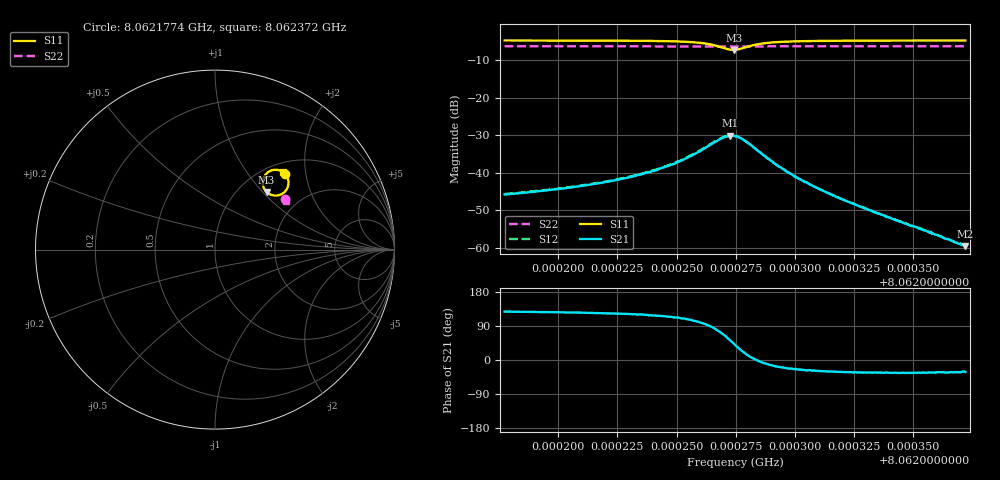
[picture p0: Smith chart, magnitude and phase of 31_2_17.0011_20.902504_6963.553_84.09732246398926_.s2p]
#  HZ  S  RI  R  50.00
! Rohde & Schwarz Vector Network Analyzer
! Rohde-Schwarz,ZNB20-2Port,1311601062101988,3.16
! Created: UTC 3/20/2024, 10:53:24 PM
! freq[Hz]  re:S11  im:S11  re:S21  im:S21  re:S12  im:S12  re:S22  im:S22
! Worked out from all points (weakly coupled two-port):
!   401 points, 8.0621774 GHz to 8.062372 GHz, reference 50 ohm
!   highest |S21| = -30.17 dB at 8.0622727 GHz (marker M1); lowest = -59.5 dB at 8.062372 GHz (marker M2)
!   lowest |S11| = -7.3 dB at 8.0622742 GHz (marker M3), VSWR 2.52, Z = 66.6 + j52.6 ohm
!   |S11| at or under -10 dB: nowhere
!   |S22| runs from -6.5 to -6.3 dB; largest |S21 - S12| = 0.003
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8.0621774e9  0.3905 0.4221  -0.00314 0.00406  -0.00293 0.00429  0.3917 0.2807
8.06219588e9  0.3936 0.4184  -0.00347 0.00475  -0.00322 0.00495  0.3923 0.2797
8.06220999e9  0.3966 0.4145  -0.0038 0.00549  -0.00355 0.00578  0.3929 0.2789
8.06223139e9  0.4027 0.404  -0.00455 0.00763  -0.00411 0.00805  0.3935 0.2774
8.06224258e9  0.4069 0.3929  -0.00505 0.01  -0.00449 0.0104  0.394 0.2762
8.06225231e9  0.4096 0.3748  -0.00488 0.0137  -0.00411 0.0143  0.3942 0.275
8.06226252e9  0.399 0.3351  -0.00144 0.0217  0.000133 0.0222  0.3933 0.273
8.06226885e9  0.3552 0.303  0.00895 0.027  0.0114 0.0266  0.3912 0.2722
8.06227274e9  0.3049 0.3088  0.0194 0.0242  0.0216 0.0226  0.3894 0.2732
8.0622742e9  0.2872 0.3214  0.0226 0.021  0.0245 0.019  0.3891 0.274
8.06227468e9  0.2824 0.3265  0.0234 0.0197  0.0253 0.0177  0.389 0.2743
8.06227663e9  0.2691 0.351  0.0256 0.0142  0.0267 0.0121  0.3889 0.2752
8.06227906e9  0.2662 0.3814  0.0254 0.00762  0.0256 0.00554  0.3893 0.2763
8.06228587e9  0.2946 0.4304  0.0179 -0.0019  0.0177 -0.00309  0.3915 0.2775
8.0622922e9  0.32 0.4427  0.0122 -0.00378  0.0119 -0.0043  0.3928 0.2773
8.06229706e9  0.3333 0.4447  0.0094 -0.00388  0.00919 -0.00434  0.3935 0.277
8.06230728e9  0.3504 0.4438  0.00594 -0.00326  0.00577 -0.00354  0.3945 0.2762
8.06231944e9  0.3617 0.4408  0.00382 -0.00235  0.00369 -0.00255  0.3952 0.2752
8.06233987e9  0.3715 0.4365  0.00209 -0.00139  0.00203 -0.00154  0.3962 0.2739
8.06235251e9  0.3751 0.4345  0.00151 -0.000993  0.00148 -0.00112  0.3967 0.2733
8.06236954e9  0.3788 0.4322  0.000956 -0.000602  0.000916 -0.000654  0.3975 0.2724
8.06237197e9  0.3792 0.4318  0.000901 -0.000555  0.000874 -0.000583  0.3974 0.2724
